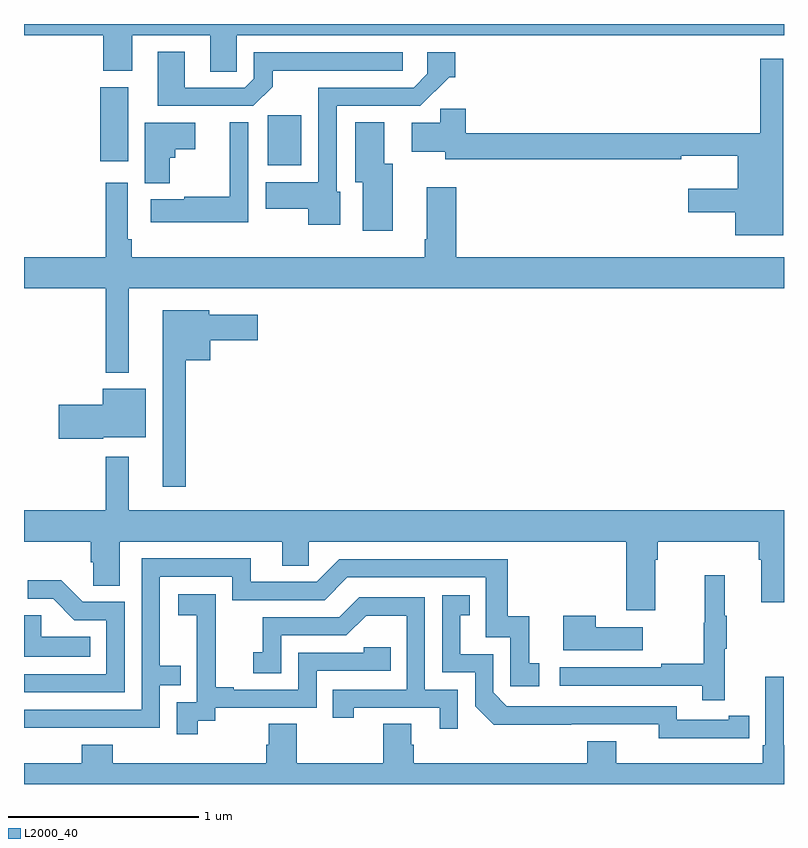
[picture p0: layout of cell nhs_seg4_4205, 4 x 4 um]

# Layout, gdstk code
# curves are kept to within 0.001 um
import gdstk
lib = gdstk.Library(unit=1e-6, precision=1e-09)
def R(c, l, rs):  # rectangles x0, y0, x1, y1
    for r in rs: c.add(gdstk.rectangle(r[:2], r[2:], *l))
def P(c, l, *ps):  # polygons
    for p in ps: c.add(gdstk.Polygon(p, *l))
L2000_40 = (2000, 40)

nhs_seg4_4205 = lib.new_cell('nhs_seg4_4205')
R(nhs_seg4_4205, L2000_40, [(336.284,776.156,336.46,776.42), (335.402,776.177,335.548,776.568)])
P(nhs_seg4_4205, L2000_40, [(336.12,776.84),(339,776.84),(339,776.9),(335,776.9),(335,776.84),(335.417,776.84),(335.417,776.653),(335.569,776.653),(335.569,776.84),(335.981,776.84),(335.981,776.65),(336.12,776.65)],
  [(336.309,776.571),(336.309,776.655),(336.994,776.655),(336.994,776.751),(336.21,776.751),(336.21,776.613),(336.162,776.565),(335.845,776.565),(335.845,776.755),(335.705,776.755),(335.705,776.469),(336.207,776.469)],
  [(336.664,776.016),(336.645,776.016),(336.645,776.469),(337.086,776.469),(337.238,776.621),(337.27,776.621),(337.27,776.751),(337.122,776.751),(337.122,776.637),(337.05,776.565),(336.549,776.565),(336.549,776.068),(336.273,776.068),(336.273,775.928),(336.496,775.928),(336.496,775.844),(336.664,775.844)],
  [(338.995,776.716),(338.874,776.716),(338.874,776.324),(337.325,776.324),(337.325,776.453),(337.192,776.453),(337.192,776.38),(337.041,776.38),(337.041,776.228),(337.218,776.228),(337.218,776.188),(338.46,776.188),(338.46,776.207),(338.756,776.207),(338.756,776.032),(338.496,776.032),(338.496,775.91),(338.744,775.91),(338.744,775.787),(338.995,775.787)],
  [(336.94,776.164),(336.895,776.164),(336.895,776.384),(336.743,776.384),(336.743,776.066),(336.782,776.066),(336.782,775.812),(336.94,775.812)],
  [(336.18,776.384),(336.083,776.384),(336.083,775.992),(335.844,775.992),(335.844,775.978),(335.667,775.978),(335.667,775.856),(336.18,775.856)],
  [(335.766,776.195),(335.797,776.195),(335.797,776.24),(335.902,776.24),(335.902,776.38),(335.636,776.38),(335.636,776.063),(335.766,776.063)],
  [(335.551,775.508),(339,775.508),(339,775.672),(337.274,775.672),(337.274,776.041),(337.121,776.041),(337.121,775.768),(337.109,775.768),(337.109,775.672),(335.567,775.672),(335.567,775.768),(335.547,775.768),(335.547,776.065),(335.431,776.065),(335.431,775.672),(335,775.672),(335,775.508),(335.43,775.508),(335.43,775.064),(335.551,775.064)],
  [(335.851,775.13),(335.98,775.13),(335.98,775.235),(336.229,775.235),(336.229,775.369),(335.976,775.369),(335.976,775.393),(335.729,775.393),(335.729,774.465),(335.851,774.465)],
  [(335.418,774.725),(335.641,774.725),(335.641,774.979),(335.414,774.979),(335.414,774.896),(335.184,774.896),(335.184,774.718),(335.418,774.718)],
  [(338.323,774.08),(338.336,774.08),(338.336,774.176),(338.867,774.176),(338.867,774.08),(338.879,774.08),(338.879,773.856),(339,773.856),(339,774.34),(335.551,774.34),(335.551,774.622),(335.43,774.622),(335.43,774.34),(335,774.34),(335,774.176),(335.351,774.176),(335.351,774.067),(335.364,774.067),(335.364,773.944),(335.503,773.944),(335.503,774.176),(336.359,774.176),(336.359,774.049),(336.498,774.049),(336.498,774.176),(338.171,774.176),(338.171,773.814),(338.323,773.814)],
  [(335.219,773.196),(335.715,773.196),(335.715,773.421),(335.825,773.421),(335.825,773.522),(335.715,773.522),(335.715,773.991),(336.096,773.991),(336.096,773.868),(336.582,773.868),(336.702,773.988),(337.431,773.988),(337.431,773.673),(337.56,773.673),(337.56,773.415),(337.711,773.415),(337.711,773.535),(337.658,773.535),(337.658,773.782),(337.547,773.782),(337.547,774.084),(336.66,774.084),(336.54,773.964),(336.193,773.964),(336.193,774.087),(335.619,774.087),(335.619,773.292),(335,773.292),(335,773.195)],
  [(338.687,773.611),(338.698,773.611),(338.698,773.785),(338.687,773.785),(338.687,773.998),(338.584,773.998),(338.584,773.748),(338.577,773.748),(338.577,773.534),(338.353,773.534),(338.353,773.514),(337.821,773.514),(337.821,773.418),(338.569,773.418),(338.569,773.34),(338.687,773.34)],
  [(335.529,773.859),(335.31,773.859),(335.197,773.972),(335.019,773.972),(335.019,773.874),(335.153,773.874),(335.264,773.763),(335.433,773.763),(335.433,773.478),(335,773.478),(335,773.382),(335.529,773.382)],
  [(335.914,773.233),(336.006,773.233),(336.006,773.301),(336.54,773.301),(336.54,773.496),(336.929,773.496),(336.929,773.619),(336.789,773.619),(336.789,773.592),(336.444,773.592),(336.444,773.397),(336.103,773.397),(336.103,773.41),(336.008,773.41),(336.008,773.693),(336.009,773.693),(336.009,773.899),(335.811,773.899),(335.811,773.789),(335.909,773.789),(335.909,773.561),(335.91,773.561),(335.91,773.331),(335.805,773.331),(335.805,773.163),(335.914,773.163)],
  [(338.708,773.142),(338.816,773.142),(338.816,773.258),(338.708,773.258),(338.708,773.238),(338.436,773.238),(338.436,773.31),(337.542,773.31),(337.47,773.382),(337.47,773.583),(337.297,773.583),(337.297,773.787),(337.346,773.787),(337.346,773.893),(337.2,773.893),(337.2,773.487),(337.374,773.487),(337.374,773.31),(337.472,773.213),(338.34,773.214),(338.34,773.141)],
  [(337.284,773.397),(337.11,773.397),(337.11,773.883),(336.764,773.883),(336.659,773.778),(336.256,773.778),(336.256,773.593),(336.207,773.593),(336.207,773.484),(336.354,773.484),(336.354,773.682),(336.696,773.682),(336.8,773.786),(337.014,773.786),(337.014,773.397),(336.625,773.397),(336.625,773.25),(336.736,773.25),(336.736,773.301),(337.187,773.301),(337.187,773.19),(337.284,773.19)],
  [(335.348,773.674),(335.091,773.674),(335.091,773.789),(335,773.789),(335,773.57),(335.348,773.57)],
  [(338.257,773.725),(338.009,773.725),(338.009,773.785),(337.838,773.785),(337.838,773.603),(338.257,773.603)],
  [(339,773.104),(338.998,773.104),(338.998,773.464),(338.901,773.464),(338.901,773.104),(338.888,773.104),(338.888,773.008),(338.116,773.008),(338.116,773.125),(337.964,773.125),(337.964,773.008),(337.052,773.008),(337.052,773.106),(337.039,773.106),(337.039,773.216),(336.892,773.216),(336.892,773.008),(336.435,773.008),(336.435,773.216),(336.287,773.216),(336.287,773.106),(336.275,773.106),(336.275,773.008),(335.468,773.008),(335.468,773.107),(335.303,773.107),(335.303,773.008),(335,773.008),(335,772.9),(339,772.9)])

lib.write_gds('nhs_seg4_4205.gds')
